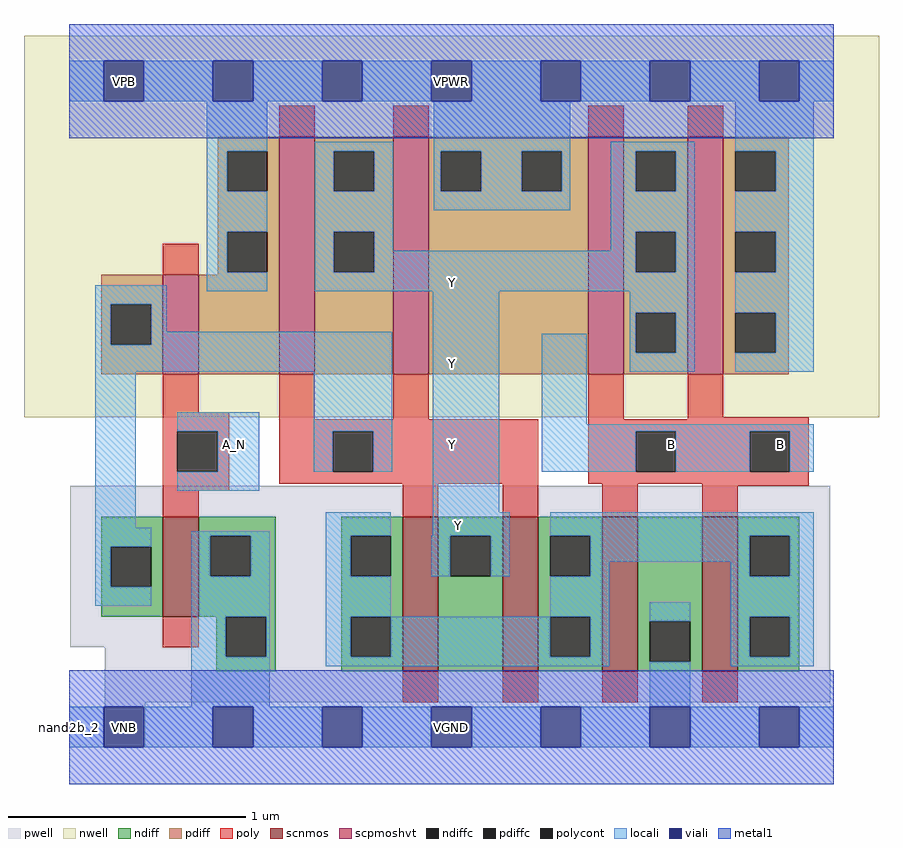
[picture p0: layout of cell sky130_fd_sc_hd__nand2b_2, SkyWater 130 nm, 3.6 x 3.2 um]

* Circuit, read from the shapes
.subckt sky130_fd_sc_hd__nand2b_2 A_N B VGND VNB VPB VPWR Y
XM1 VGND A_N n1 VNB sky130_fd_pr__nfet_01v8 w=0.42 l=0.15
XM2 Y n1 n2 VNB sky130_fd_pr__nfet_01v8 w=0.65 l=0.15 m=2
XM3 VGND B n2 VNB sky130_fd_pr__nfet_01v8 w=0.65 l=0.15 m=2
XM4 VPWR A_N n1 VPB sky130_fd_pr__pfet_01v8_hvt w=0.42 l=0.15
XM5 Y n1 VPWR VPB sky130_fd_pr__pfet_01v8_hvt w=1 l=0.15 m=2
XM6 Y B VPWR VPB sky130_fd_pr__pfet_01v8_hvt w=1 l=0.15 m=2
.ends

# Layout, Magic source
magic
tech sky130B
magscale 1 2
<< nwell >>
rect -38 261 682 582
<< pwell >>
rect 1 67 641 203
rect 30 21 641 67
rect 30 -17 64 21
<< scnmos >>
rect 79 93 109 177
rect 281 47 311 177
rect 365 47 395 177
rect 449 47 479 177
rect 533 47 563 177
<< scpmoshvt >>
rect 79 297 109 381
rect 177 297 207 497
rect 273 297 303 497
rect 437 297 467 497
rect 521 297 551 497
<< ndiff >>
rect 27 152 79 177
rect 27 118 35 152
rect 69 118 79 152
rect 27 93 79 118
rect 109 161 174 177
rect 109 127 119 161
rect 153 127 174 161
rect 109 93 174 127
rect 124 59 132 93
rect 166 59 174 93
rect 124 47 174 59
rect 229 161 281 177
rect 229 127 237 161
rect 271 127 281 161
rect 229 93 281 127
rect 229 59 237 93
rect 271 59 281 93
rect 229 47 281 59
rect 311 161 365 177
rect 311 127 321 161
rect 355 127 365 161
rect 311 47 365 127
rect 395 161 449 177
rect 395 127 405 161
rect 439 127 449 161
rect 395 93 449 127
rect 395 59 405 93
rect 439 59 449 93
rect 395 47 449 59
rect 479 89 533 177
rect 479 55 489 89
rect 523 55 533 89
rect 479 47 533 55
rect 563 161 615 177
rect 563 127 573 161
rect 607 127 615 161
rect 563 93 615 127
rect 563 59 573 93
rect 607 59 615 93
rect 563 47 615 59
<< pdiff >>
rect 125 485 177 497
rect 125 451 133 485
rect 167 451 177 485
rect 125 417 177 451
rect 125 383 133 417
rect 167 383 177 417
rect 125 381 177 383
rect 27 356 79 381
rect 27 322 35 356
rect 69 322 79 356
rect 27 297 79 322
rect 109 297 177 381
rect 207 485 273 497
rect 207 451 223 485
rect 257 451 273 485
rect 207 417 273 451
rect 207 383 223 417
rect 257 383 273 417
rect 207 297 273 383
rect 303 485 437 497
rect 303 451 313 485
rect 347 451 381 485
rect 415 451 437 485
rect 303 297 437 451
rect 467 485 521 497
rect 467 451 477 485
rect 511 451 521 485
rect 467 417 521 451
rect 467 383 477 417
rect 511 383 521 417
rect 467 349 521 383
rect 467 315 477 349
rect 511 315 521 349
rect 467 297 521 315
rect 551 485 606 497
rect 551 451 561 485
rect 595 451 606 485
rect 551 417 606 451
rect 551 383 561 417
rect 595 383 606 417
rect 551 349 606 383
rect 551 315 561 349
rect 595 315 606 349
rect 551 297 606 315
<< ndiffc >>
rect 35 118 69 152
rect 119 127 153 161
rect 132 59 166 93
rect 237 127 271 161
rect 237 59 271 93
rect 321 127 355 161
rect 405 127 439 161
rect 405 59 439 93
rect 489 55 523 89
rect 573 127 607 161
rect 573 59 607 93
<< pdiffc >>
rect 133 451 167 485
rect 133 383 167 417
rect 35 322 69 356
rect 223 451 257 485
rect 223 383 257 417
rect 313 451 347 485
rect 381 451 415 485
rect 477 451 511 485
rect 477 383 511 417
rect 477 315 511 349
rect 561 451 595 485
rect 561 383 595 417
rect 561 315 595 349
<< poly >>
rect 177 497 207 523
rect 273 497 303 523
rect 437 497 467 523
rect 521 497 551 523
rect 79 381 109 407
rect 79 265 109 297
rect 79 249 135 265
rect 79 215 91 249
rect 125 215 135 249
rect 79 199 135 215
rect 177 259 207 297
rect 273 259 303 297
rect 437 259 467 297
rect 521 261 551 297
rect 521 259 623 261
rect 177 249 395 259
rect 177 215 222 249
rect 256 215 395 249
rect 177 205 395 215
rect 437 249 623 259
rect 437 215 477 249
rect 511 215 573 249
rect 607 215 623 249
rect 437 205 623 215
rect 79 177 109 199
rect 281 177 311 205
rect 365 177 395 205
rect 449 177 479 205
rect 533 203 623 205
rect 533 177 563 203
rect 79 67 109 93
rect 281 21 311 47
rect 365 21 395 47
rect 449 21 479 47
rect 533 21 563 47
<< polycont >>
rect 91 215 125 249
rect 222 215 256 249
rect 477 215 511 249
rect 573 215 607 249
<< locali >>
rect 0 527 29 561
rect 63 527 121 561
rect 155 527 213 561
rect 247 527 305 561
rect 339 527 397 561
rect 431 527 489 561
rect 523 527 581 561
rect 615 527 644 561
rect 116 485 167 527
rect 116 451 133 485
rect 116 417 167 451
rect 116 383 133 417
rect 22 356 82 372
rect 116 367 167 383
rect 207 485 273 493
rect 207 451 223 485
rect 257 451 273 485
rect 207 417 273 451
rect 307 485 422 527
rect 307 451 313 485
rect 347 451 381 485
rect 415 451 422 485
rect 307 435 422 451
rect 456 485 527 493
rect 456 451 477 485
rect 511 451 527 485
rect 207 383 223 417
rect 257 401 273 417
rect 456 417 527 451
rect 456 401 477 417
rect 257 383 477 401
rect 511 383 527 417
rect 207 367 527 383
rect 22 322 35 356
rect 69 333 82 356
rect 69 322 272 333
rect 22 299 272 322
rect 22 168 56 299
rect 91 249 160 265
rect 125 215 160 249
rect 206 249 272 299
rect 206 215 222 249
rect 256 215 272 249
rect 91 199 160 215
rect 306 181 362 367
rect 472 349 527 367
rect 398 255 436 331
rect 472 315 477 349
rect 511 315 527 349
rect 472 299 527 315
rect 561 485 627 527
rect 595 451 627 485
rect 561 417 627 451
rect 595 383 627 417
rect 561 349 627 383
rect 595 315 627 349
rect 561 299 627 315
rect 398 249 627 255
rect 398 215 477 249
rect 511 215 573 249
rect 607 215 627 249
rect 22 152 69 168
rect 22 118 35 152
rect 22 102 69 118
rect 103 161 169 165
rect 103 127 119 161
rect 153 127 169 161
rect 103 93 169 127
rect 103 59 132 93
rect 166 59 169 93
rect 103 17 169 59
rect 216 161 271 181
rect 306 161 371 181
rect 216 127 237 161
rect 305 127 321 161
rect 355 127 371 161
rect 405 161 627 181
rect 439 139 573 161
rect 439 127 455 139
rect 216 93 271 127
rect 405 93 455 127
rect 557 127 573 139
rect 607 127 627 161
rect 216 59 237 93
rect 271 59 405 93
rect 439 59 455 93
rect 216 51 455 59
rect 489 89 523 105
rect 489 17 523 55
rect 557 93 627 127
rect 557 59 573 93
rect 607 59 627 93
rect 557 51 627 59
rect 0 -17 29 17
rect 63 -17 121 17
rect 155 -17 213 17
rect 247 -17 305 17
rect 339 -17 397 17
rect 431 -17 489 17
rect 523 -17 581 17
rect 615 -17 644 17
<< viali >>
rect 29 527 63 561
rect 121 527 155 561
rect 213 527 247 561
rect 305 527 339 561
rect 397 527 431 561
rect 489 527 523 561
rect 581 527 615 561
rect 29 -17 63 17
rect 121 -17 155 17
rect 213 -17 247 17
rect 305 -17 339 17
rect 397 -17 431 17
rect 489 -17 523 17
rect 581 -17 615 17
<< metal1 >>
rect 0 561 644 592
rect 0 527 29 561
rect 63 527 121 561
rect 155 527 213 561
rect 247 527 305 561
rect 339 527 397 561
rect 431 527 489 561
rect 523 527 581 561
rect 615 527 644 561
rect 0 496 644 527
rect 0 17 644 48
rect 0 -17 29 17
rect 63 -17 121 17
rect 155 -17 213 17
rect 247 -17 305 17
rect 339 -17 397 17
rect 431 -17 489 17
rect 523 -17 581 17
rect 615 -17 644 17
rect 0 -48 644 -17
<< labels >>
flabel locali s 582 221 616 255 0 FreeSans 250 0 0 0 B
port 2 nsew signal input
flabel locali s 490 221 524 255 0 FreeSans 250 0 0 0 B
port 2 nsew signal input
flabel locali s 311 153 345 187 0 FreeSans 250 0 0 0 Y
port 7 nsew signal output
flabel locali s 306 221 340 255 0 FreeSans 250 0 0 0 Y
port 7 nsew signal output
flabel locali s 306 289 340 323 0 FreeSans 250 0 0 0 Y
port 7 nsew signal output
flabel locali s 306 357 340 391 0 FreeSans 250 0 0 0 Y
port 7 nsew signal output
flabel locali s 122 221 156 255 0 FreeSans 250 0 0 0 A_N
port 1 nsew signal input
flabel pwell s 30 -17 64 17 0 FreeSans 200 0 0 0 VNB
port 4 nsew ground bidirectional
flabel nwell s 30 527 64 561 0 FreeSans 200 0 0 0 VPB
port 5 nsew power bidirectional
flabel metal1 s 30 -17 64 17 0 FreeSans 200 0 0 0 VGND
port 3 nsew ground bidirectional abutment
flabel metal1 s 30 527 64 561 0 FreeSans 200 0 0 0 VPWR
port 6 nsew power bidirectional abutment
rlabel comment s 0 0 0 0 4 nand2b_2
rlabel metal1 s 0 -48 644 48 1 VGND
port 3 nsew ground bidirectional abutment
rlabel metal1 s 0 496 644 592 1 VPWR
port 6 nsew power bidirectional abutment
<< properties >>
string FIXED_BBOX 0 0 644 544
string GDS_END 1806368
string GDS_FILE $PDKPATH/libs.ref/sky130_fd_sc_hd/gds/sky130_fd_sc_hd.gds
string GDS_START 1799806
string LEFclass CORE
string LEFsite unithd
string LEFsymmetry X Y R90
string path 0.000 0.000 16.100 0.000 
<< end >>
